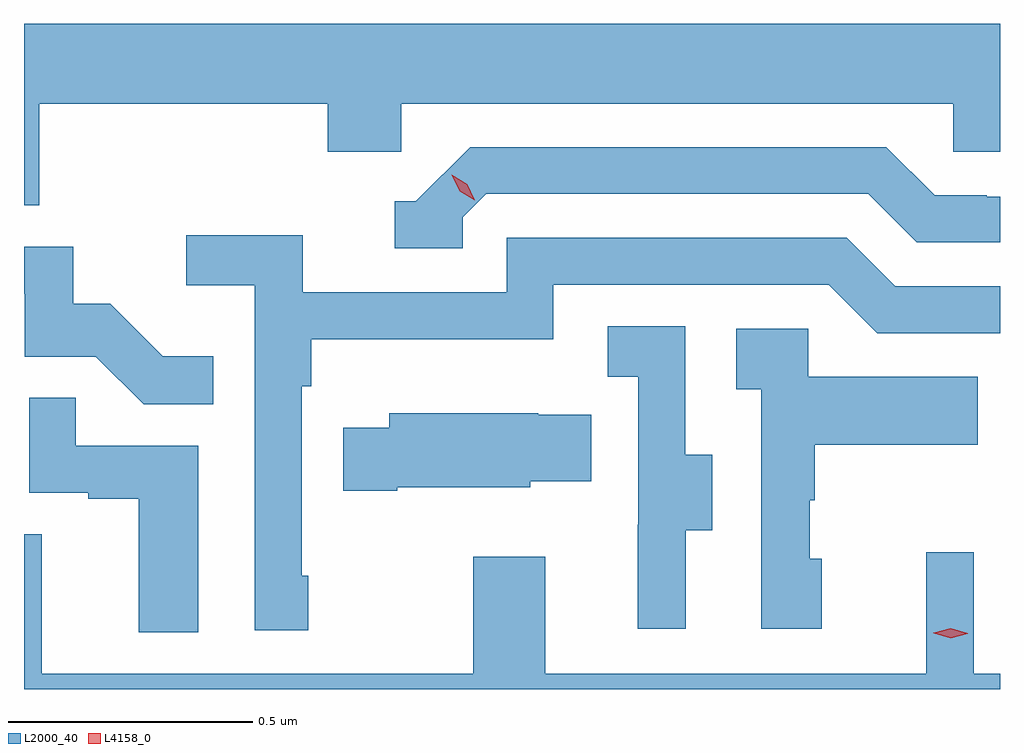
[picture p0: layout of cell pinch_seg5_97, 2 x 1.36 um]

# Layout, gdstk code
import gdstk
lib = gdstk.Library(unit=1e-6, precision=1e-09)
def P(c, l, *ps):  # polygons
    for p in ps: c.add(gdstk.Polygon(p, *l))
L2000_40 = (2000, 40)
L4158_0 = (4158, 0)

pinch_seg5_97 = lib.new_cell('pinch_seg5_97')
P(pinch_seg5_97, L2000_40, [(1046.276,895.388),(1046.867,895.388),(1046.867,895.29),(1047.018,895.29),(1047.018,895.388),(1048.149,895.388),(1048.149,895.29),(1048.245,895.29),(1048.245,895.552),(1046.245,895.552),(1046.245,895.18),(1046.276,895.18)],
  [(1047.144,895.155),(1047.192,895.203),(1047.975,895.203),(1048.074,895.104),(1048.245,895.104),(1048.245,895.197),(1048.218,895.197),(1048.218,895.2),(1048.111,895.2),(1048.012,895.299),(1047.159,895.299),(1047.048,895.188),(1047.005,895.188),(1047.005,895.092),(1047.144,895.092)],
  [(1046.827,894.421),(1046.814,894.421),(1046.814,894.809),(1046.834,894.809),(1046.834,894.905),(1047.33,894.905),(1047.33,895.017),(1047.894,895.017),(1047.993,894.918),(1048.245,894.918),(1048.245,895.014),(1048.03,895.014),(1047.931,895.113),(1047.234,895.113),(1047.234,895.002),(1046.816,895.002),(1046.816,895.118),(1046.577,895.118),(1046.577,895.016),(1046.718,895.016),(1046.718,894.309),(1046.827,894.309)],
  [(1046.633,894.871),(1046.529,894.871),(1046.422,894.978),(1046.346,894.978),(1046.346,895.095),(1046.245,895.095),(1046.245,894.999),(1046.247,894.999),(1046.247,894.87),(1046.392,894.87),(1046.49,894.772),(1046.633,894.772)],
  [(1047.601,894.514),(1047.655,894.514),(1047.655,894.669),(1047.6,894.669),(1047.6,894.932),(1047.441,894.932),(1047.441,894.829),(1047.504,894.829),(1047.504,894.525),(1047.503,894.525),(1047.503,894.312),(1047.601,894.312)],
  [(1047.88,894.456),(1047.855,894.456),(1047.855,894.575),(1047.865,894.575),(1047.865,894.689),(1048.199,894.689),(1048.199,894.829),(1047.852,894.829),(1047.852,894.927),(1047.705,894.927),(1047.705,894.803),(1047.756,894.803),(1047.756,894.312),(1047.88,894.312)],
  [(1046.602,894.687),(1046.351,894.687),(1046.351,894.785),(1046.256,894.785),(1046.256,894.591),(1046.377,894.591),(1046.377,894.579),(1046.48,894.579),(1046.48,894.305),(1046.602,894.305)],
  [(1047.01,894.602),(1047.282,894.602),(1047.282,894.614),(1047.407,894.614),(1047.407,894.751),(1047.299,894.751),(1047.299,894.754),(1046.993,894.754),(1046.993,894.724),(1046.899,894.724),(1046.899,894.595),(1047.01,894.595)],
  [(1048.245,894.22),(1048.191,894.22),(1048.191,894.469),(1048.094,894.469),(1048.094,894.22),(1047.313,894.22),(1047.313,894.46),(1047.166,894.46),(1047.166,894.22),(1046.281,894.22),(1046.281,894.506),(1046.245,894.506),(1046.245,894.188),(1048.245,894.188)])
P(pinch_seg5_97, L4158_0, [(1047.169,895.19),(1047.138,895.209),(1047.122,895.242),(1047.122,895.242),(1047.122,895.242),(1047.153,895.223),(1047.169,895.19),(1047.169,895.19)],
  [(1048.144,894.293),(1048.109,894.303),(1048.108,894.304),(1048.109,894.304),(1048.144,894.313),(1048.179,894.303),(1048.179,894.303),(1048.179,894.302)])

lib.write_gds('pinch_seg5_97.gds')
